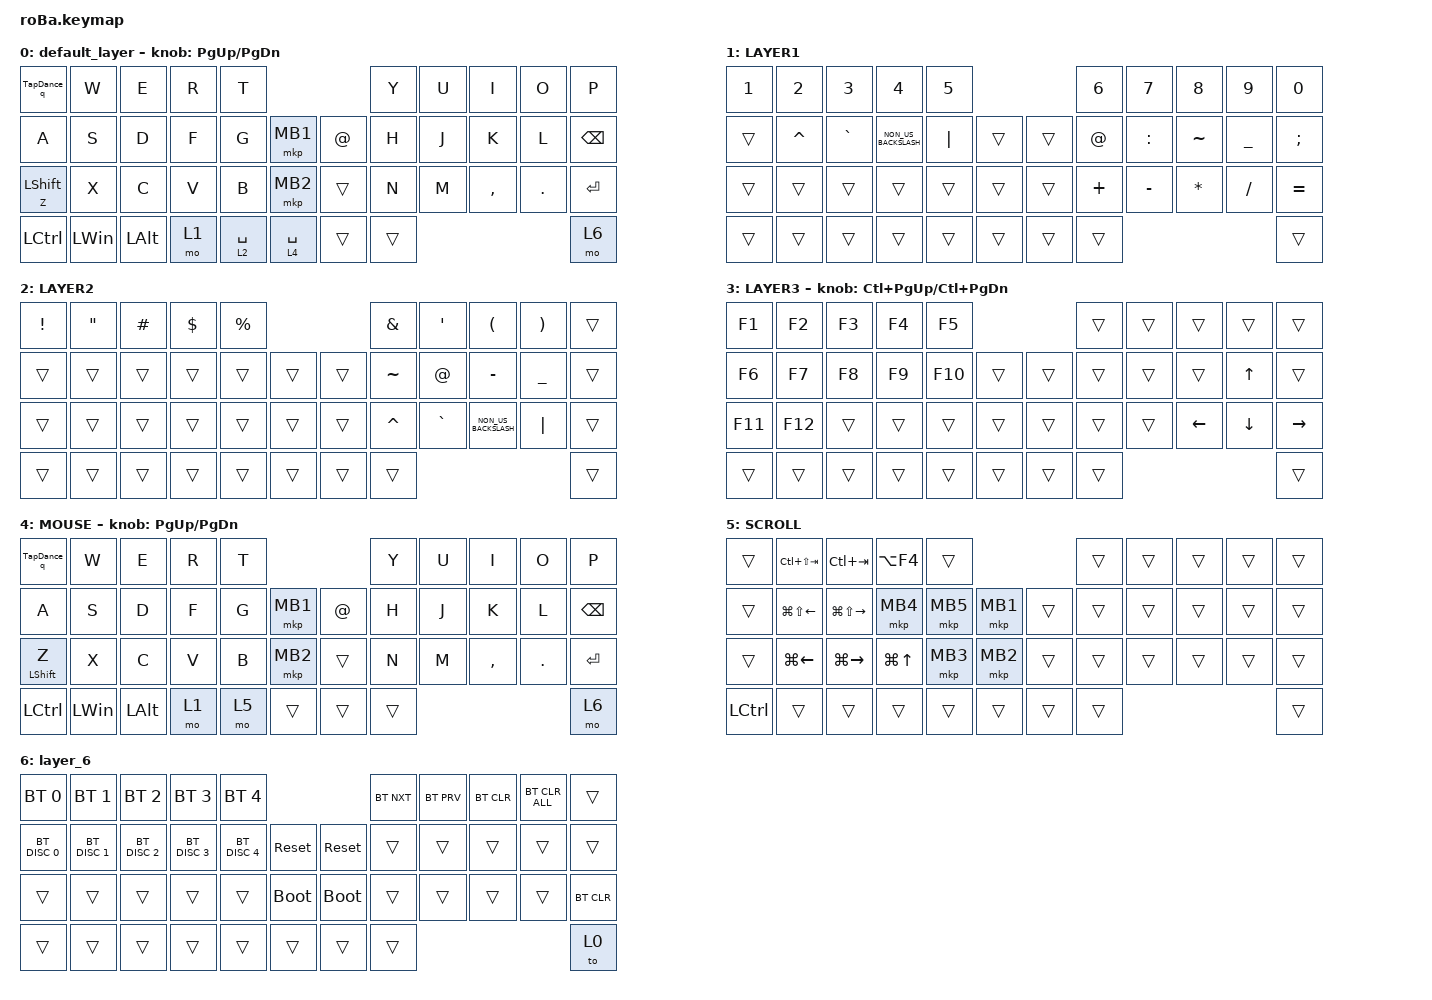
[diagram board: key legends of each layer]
#include <behaviors.dtsi>
#include <dt-bindings/zmk/bt.h>
#include <dt-bindings/zmk/keys.h>
#include <dt-bindings/zmk/pointing.h>

#define MOUSE 4
#define SCROLL 5
#define NUM 6

&mt {
    flavor = "balanced";
    quick-tap-ms = <0>;
};

/ {
    combos {
        compatible = "zmk,combos";

        nobasibou {
            bindings = <&kp MINUS>;
            key-positions = <8 9>;
        };

        esc {
            bindings = <&kp ESCAPE>;
            key-positions = <0 1>;
        };

        tab {
            bindings = <&kp TAB>;
            key-positions = <10 11>;
        };
    };

    macros {
        to_layer_0: to_layer_0 {
            compatible = "zmk,behavior-macro-one-param";
            #binding-cells = <1>;
            bindings = <&to 0 &macro_param_1to1 &kp MACRO_PLACEHOLDER>;
            label = "TO_LAYER_0";
        };
    };

    behaviors {
        lt_to_layer_0: lt_to_layer_0 {
            compatible = "zmk,behavior-hold-tap";
            label = "LAYER_TAP_TO_0";
            bindings = <&mo>, <&to_layer_0>;

            #binding-cells = <2>;
            tapping-term-ms = <200>;
        };

        mt_z: mt_z {
            compatible = "zmk,behavior-hold-tap";
            label = "MT_Z";
            bindings = <&kp>, <&kp>;

            #binding-cells = <2>;
            tapping-term-ms = <500>;
            flavor = "balanced";
        };

        lt_1: lt_1 {
            compatible = "zmk,behavior-hold-tap";
            label = "LT_1";
            bindings = <&mo>, <&kp>;

            #binding-cells = <2>;
            tapping-term-ms = <300>;
            quick-tap-ms = <300>;
            flavor = "balanced";
        };

        TapDance_q: TapDance_q {
            compatible = "zmk,behavior-tap-dance";
            label = "TAPDANCE_Q";
            #binding-cells = <0>;
            bindings = <&kp LA(GRAVE)>, <&kp Q>;

            tapping-term-ms = <300>;
        };

        TapDance_p: TapDance_p {
            compatible = "zmk,behavior-tap-dance";
            label = "TAPDANCE_P";
            #binding-cells = <0>;
            bindings = <&kp P>, <&kp MINUS>;

            tapping-term-ms = <300>;
        };

        TapDance_a: TapDance_a {
            compatible = "zmk,behavior-tap-dance";
            label = "TAPDANCE_A";
            #binding-cells = <0>;
            bindings = <&kp A>, <&kp TAB>;

            tapping-term-ms = <300>;
        };

        TapDance_k: TapDance_k {
            compatible = "zmk,behavior-tap-dance";
            label = "TAPDANCE_K";
            #binding-cells = <0>;
            bindings = <&kp K>, <&kp UP_ARROW>;

            tapping-term-ms = <300>;
        };

        TapDance_m: TapDance_m {
            compatible = "zmk,behavior-tap-dance";
            label = "TAPDANCE_M";
            #binding-cells = <0>;
            bindings = <&kp M>, <&kp LEFT>;

            tapping-term-ms = <300>;
        };

        TapDance_comma: TapDance_comma {
            compatible = "zmk,behavior-tap-dance";
            label = "TAPDANCE_COMMA";
            #binding-cells = <0>;
            bindings = <&kp COMMA>, <&kp DOWN_ARROW>;

            tapping-term-ms = <300>;
        };

        TapDance_dot: TapDance_dot {
            compatible = "zmk,behavior-tap-dance";
            label = "TAPDANCE_DOT";
            #binding-cells = <0>;
            bindings = <&kp DOT>, <&kp RIGHT_ARROW>;

            tapping-term-ms = <300>;
        };
    };

    keymap {
        compatible = "zmk,keymap";

        default_layer {
            bindings = <
&TapDance_q         &kp W         &kp E         &kp R  &kp T                                      &kp Y   &kp U  &kp I      &kp O    &kp P
&kp A               &kp S         &kp D         &kp F  &kp G        &mkp MB1         &kp AT_SIGN  &kp H   &kp J  &kp K      &kp L    &kp BACKSPACE
&mt_z Z LEFT_SHIFT  &kp X         &kp C         &kp V  &kp B        &mkp MB2         &trans       &kp N   &kp M  &kp COMMA  &kp DOT  &kp ENTER
&kp LCTRL           &kp LEFT_WIN  &kp LEFT_ALT  &mo 1  &lt 2 SPACE  &lt 4 SPACE      &trans       &trans                             &mo 6
            >;

            sensor-bindings = <&inc_dec_kp PG_UP PAGE_DOWN>;
        };

        LAYER1 {
            bindings = <
&kp NUMBER_1  &kp NUMBER_2  &kp NUMBER_3  &kp NUMBER_4          &kp NUMBER_5                      &kp NUMBER_6  &kp NUMBER_7  &kp NUMBER_8  &kp NUMBER_9    &kp NUMBER_0
&trans        &kp CARET     &kp GRAVE     &kp NON_US_BACKSLASH  &kp PIPE      &trans      &trans  &kp AT_SIGN   &kp COLON     &kp TILDE     &kp UNDERSCORE  &kp SEMICOLON
&trans        &trans        &trans        &trans                &trans        &trans      &trans  &kp PLUS      &kp MINUS     &kp ASTERISK  &kp SLASH       &kp EQUAL
&trans        &trans        &trans        &trans                &trans        &trans      &trans  &trans                                                    &trans
            >;
        };

        LAYER2 {
            bindings = <
&kp EXCLAMATION  &kp DOUBLE_QUOTES  &kp HASH  &kp DOLLAR  &kp PERCENT                      &kp AMPERSAND  &kp SQT      &kp LEFT_PARENTHESIS  &kp RIGHT_PARENTHESIS  &trans
&trans           &trans             &trans    &trans      &trans       &trans      &trans  &kp TILDE      &kp AT_SIGN  &kp MINUS             &kp UNDERSCORE         &trans
&trans           &trans             &trans    &trans      &trans       &trans      &trans  &kp CARET      &kp GRAVE    &kp NON_US_BACKSLASH  &kp PIPE               &trans
&trans           &trans             &trans    &trans      &trans       &trans      &trans  &trans                                                                   &trans
            >;
        };

        LAYER3 {
            bindings = <
&kp F1   &kp F2   &kp F3  &kp F4  &kp F5                       &trans  &trans  &trans          &trans          &trans
&kp F6   &kp F7   &kp F8  &kp F9  &kp F10  &trans      &trans  &trans  &trans  &trans          &kp UP_ARROW    &trans
&kp F11  &kp F12  &trans  &trans  &trans   &trans      &trans  &trans  &trans  &kp LEFT_ARROW  &kp DOWN_ARROW  &kp RIGHT_ARROW
&trans   &trans   &trans  &trans  &trans   &trans      &trans  &trans                                          &trans
            >;

            sensor-bindings = <&inc_dec_kp LC(PAGE_UP) LC(PAGE_DOWN)>;
        };

        MOUSE {
            bindings = <
&TapDance_q     &kp W         &kp E         &kp R  &kp T                             &kp Y   &kp U  &kp I      &kp O    &kp P
&kp A           &kp S         &kp D         &kp F  &kp G  &mkp MB1      &kp AT_SIGN  &kp H   &kp J  &kp K      &kp L    &kp BACKSPACE
&mt_z LSHIFT Z  &kp X         &kp C         &kp V  &kp B  &mkp MB2      &trans       &kp N   &kp M  &kp COMMA  &kp DOT  &kp ENTER
&kp LCTRL       &kp LEFT_WIN  &kp LEFT_ALT  &mo 1  &mo 5  &trans        &trans       &trans                             &mo 6
            >;

            sensor-bindings = <&inc_dec_kp PG_UP PAGE_DOWN>;
        };

        SCROLL {
            bindings = <
&trans     &kp LC(LS(TAB))         &kp LC(TAB)              &kp LA(F4)        &trans                          &trans  &trans  &trans  &trans  &trans
&trans     &kp LG(LS(LEFT_ARROW))  &kp LG(LS(RIGHT_ARROW))  &mkp MB4          &mkp MB5  &mkp MB1      &trans  &trans  &trans  &trans  &trans  &trans
&trans     &kp LG(LEFT_ARROW)      &kp LG(RIGHT_ARROW)      &kp LG(UP_ARROW)  &mkp MB3  &mkp MB2      &trans  &trans  &trans  &trans  &trans  &trans
&kp LCTRL  &trans                  &trans                   &trans            &trans    &trans        &trans  &trans                          &trans
            >;
        };

        layer_6 {
            bindings = <
&bt BT_SEL 0   &bt BT_SEL 1   &bt BT_SEL 2   &bt BT_SEL 3   &bt BT_SEL 4                                 &bt BT_NXT  &bt BT_PRV  &bt BT_CLR  &bt BT_CLR_ALL  &trans
&bt BT_DISC 0  &bt BT_DISC 1  &bt BT_DISC 2  &bt BT_DISC 3  &bt BT_DISC 4  &sys_reset       &sys_reset   &trans      &trans      &trans      &trans          &trans
&trans         &trans         &trans         &trans         &trans         &bootloader      &bootloader  &trans      &trans      &trans      &trans          &bt BT_CLR
&trans         &trans         &trans         &trans         &trans         &trans           &trans       &trans                                              &to 0
            >;
        };
    };
};
